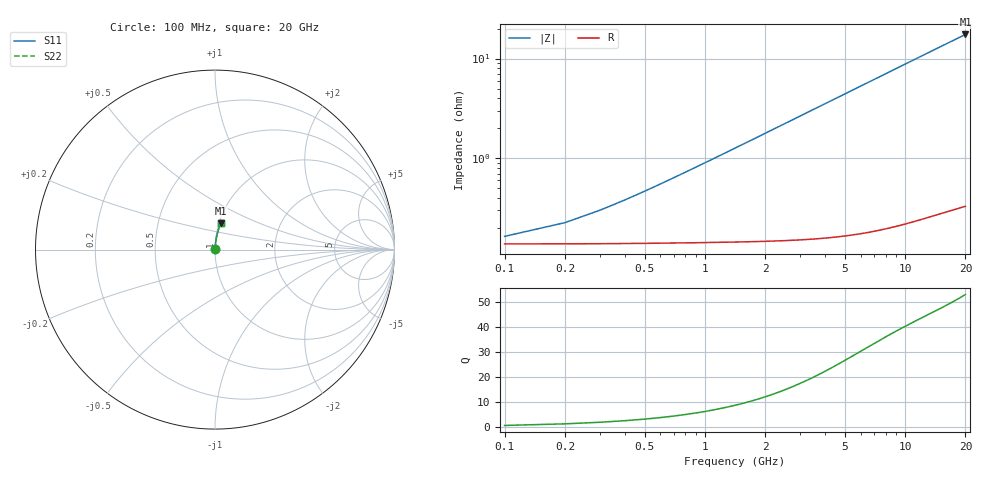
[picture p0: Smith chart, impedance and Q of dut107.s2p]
! Touchstone file exported from HFSS 2026.1.0
!  File:  C:/ffzhzh/LocalFiles/Ansys_Project_Files/temp_train_TSV_107_1782989606_41620.aedt
!  Generated:  06:55:44 PM Jul  2, 2026
!  Design:  TSV
!  Project:  temp_train_TSV_107_1782989606_41620
! Variables:
!  h_bsmrdl = 2um
!  h_ox = 20um
!  h_rdl = 5um
!  h_sub = 60.89um
!  h_tmrdl = 5um
!  h_tsv = 60.89um
!  h_via = 3um
!  l_bsmrdl = 300um
!  l_sub = 404.54um
!  l_tmrdl = 200um
!  m_sub = 200um
!  pitch = 59.45um
!  r_tsv = 2.27um
!  s_tmrdl = 10um
!  w_bsmrdl = 18um
!  w_sub = 500um
!  w_tmrdl = 12um
!  x_tsv_center1 = 206um
!  x_tsv_center2 = 524um
!  x_tsv_center3 = 736um
!  x_tsv_center4 = 1054um
!  x_tsv_center5 = 1266um
!  x_tsv_center6 = 1584um
# GHz S MA R 50.000000
! Terminal data exported
! Port[1] = TSV1_1_T1
! Port[2] = TSV1_1_T2
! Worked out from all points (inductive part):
!   200 points, 100 MHz to 20 GHz, reference 50 ohm
!   read as one part in series: L = 141 pH near 500 MHz
!   highest Q = 53 at 20 GHz (marker M1), where L = 139 pH
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0.1  0.001582 29.4  0.9986 -0.1  0.9986 -0.1  0.001582 29.4
! Gamma 0 0 0 0
! Port Impedance 50 0 50 0
0.3  0.002713 59.1  0.9986 -0.2  0.9986 -0.2  0.002713 59.1
0.4  0.003404 65.7  0.9986 -0.2  0.9986 -0.2  0.003404 65.7
0.5  0.004124 69.9  0.9986 -0.3  0.9986 -0.3  0.004124 69.9
0.6  0.00486 72.9  0.9986 -0.3  0.9986 -0.3  0.00486 72.9
0.7  0.005605 75.1  0.9986 -0.4  0.9986 -0.4  0.005605 75.1
0.9  0.007109 78.0  0.9986 -0.5  0.9986 -0.5  0.007109 78.0
1.2  0.009387 80.6  0.9985 -0.7  0.9985 -0.7  0.009387 80.6
1.4  0.01091 81.6  0.9985 -0.8  0.9985 -0.8  0.01091 81.6
1.7  0.01321 82.7  0.9985 -1.0  0.9985 -1.0  0.01321 82.7
2.2  0.01704 83.8  0.9984 -1.3  0.9984 -1.3  0.01704 83.8
2.8  0.02164 84.4  0.9983 -1.6  0.9983 -1.6  0.02164 84.4
3.5  0.02701 84.7  0.9981 -2.0  0.9981 -2.0  0.02701 84.7
4.2  0.03238 84.8  0.9979 -2.4  0.9979 -2.4  0.03238 84.8
5  0.0385 84.7  0.9976 -2.8  0.9976 -2.8  0.0385 84.7
5.9  0.04537 84.5  0.9972 -3.4  0.9972 -3.4  0.04537 84.5
6.8  0.05223 84.1  0.9968 -3.9  0.9968 -3.9  0.05223 84.1
8.3  0.0636 83.5  0.996 -4.7  0.996 -4.7  0.0636 83.5
10.1  0.07717 82.7  0.9948 -5.7  0.9948 -5.7  0.07717 82.7
13.4  0.1018 81.0  0.9922 -7.6  0.9922 -7.6  0.1018 81.0
16.7  0.126 79.3  0.9891 -9.4  0.9891 -9.4  0.126 79.3
20  0.1499 77.6  0.9855 -11.2  0.9855 -11.2  0.1499 77.6
